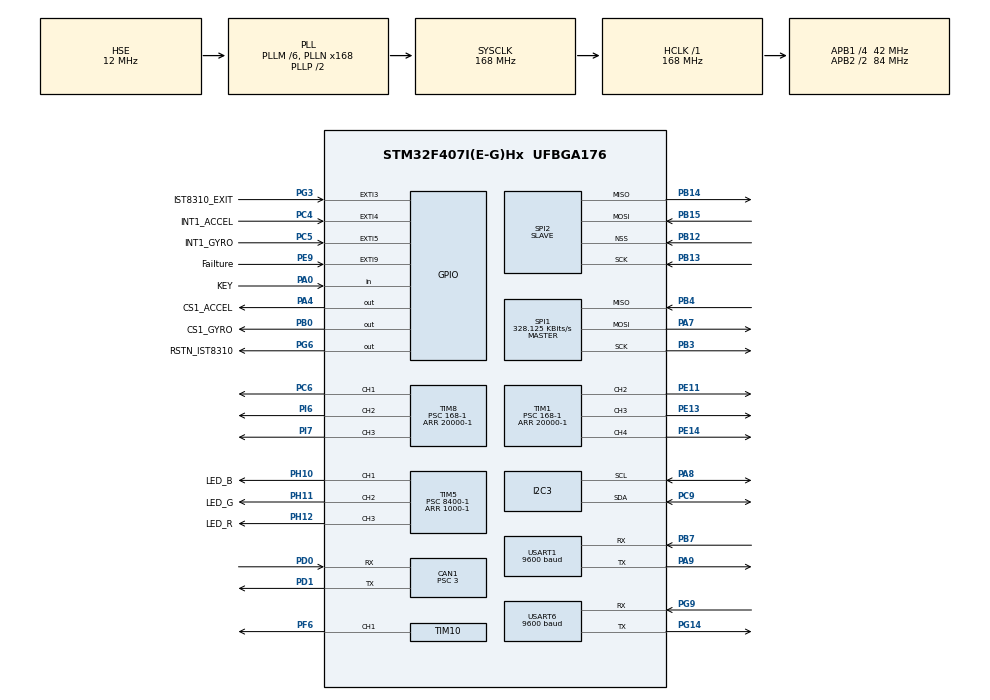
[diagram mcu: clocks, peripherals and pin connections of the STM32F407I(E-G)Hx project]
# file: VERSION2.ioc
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CAN1.BS1=CAN_BS1_10TQ
CAN1.BS2=CAN_BS2_3TQ
CAN1.CalculateBaudRate=1000000
CAN1.CalculateTimeBit=999.99
CAN1.CalculateTimeQuantum=71.42857142857143
CAN1.Prescaler=3
Dma.Request0=SPI1_RX
Dma.Request1=SPI1_TX
Dma.Request2=USART6_RX
Dma.Request3=USART6_TX
Dma.Request4=USART1_RX
Dma.Request5=USART1_TX
Dma.SPI1_RX.0.Direction=DMA_PERIPH_TO_MEMORY
Dma.SPI1_RX.0.FIFOMode=DMA_FIFOMODE_DISABLE
Dma.SPI1_RX.0.Instance=DMA2_Stream2
Dma.SPI1_RX.0.MemDataAlignment=DMA_MDATAALIGN_BYTE
Dma.SPI1_RX.0.MemInc=DMA_MINC_ENABLE
Dma.SPI1_RX.0.Mode=DMA_NORMAL
Dma.SPI1_RX.0.PeriphDataAlignment=DMA_PDATAALIGN_BYTE
Dma.SPI1_RX.0.PeriphInc=DMA_PINC_DISABLE
Dma.SPI1_RX.0.Priority=DMA_PRIORITY_VERY_HIGH
Dma.SPI1_TX.1.Direction=DMA_MEMORY_TO_PERIPH
Dma.SPI1_TX.1.FIFOMode=DMA_FIFOMODE_DISABLE
Dma.SPI1_TX.1.Instance=DMA2_Stream3
Dma.SPI1_TX.1.MemDataAlignment=DMA_MDATAALIGN_BYTE
Dma.SPI1_TX.1.MemInc=DMA_MINC_ENABLE
Dma.SPI1_TX.1.Mode=DMA_NORMAL
Dma.SPI1_TX.1.PeriphDataAlignment=DMA_PDATAALIGN_BYTE
Dma.SPI1_TX.1.PeriphInc=DMA_PINC_DISABLE
Dma.SPI1_TX.1.Priority=DMA_PRIORITY_HIGH
Dma.USART1_RX.4.Direction=DMA_PERIPH_TO_MEMORY
Dma.USART1_RX.4.FIFOMode=DMA_FIFOMODE_DISABLE
Dma.USART1_RX.4.Instance=DMA2_Stream5
Dma.USART1_RX.4.MemDataAlignment=DMA_MDATAALIGN_BYTE
Dma.USART1_RX.4.MemInc=DMA_MINC_ENABLE
Dma.USART1_RX.4.Mode=DMA_NORMAL
Dma.USART1_RX.4.PeriphDataAlignment=DMA_PDATAALIGN_BYTE
Dma.USART1_RX.4.PeriphInc=DMA_PINC_DISABLE
Dma.USART1_RX.4.Priority=DMA_PRIORITY_LOW
Dma.USART1_TX.5.Direction=DMA_MEMORY_TO_PERIPH
Dma.USART1_TX.5.FIFOMode=DMA_FIFOMODE_DISABLE
Dma.USART1_TX.5.Instance=DMA2_Stream7
Dma.USART1_TX.5.MemDataAlignment=DMA_MDATAALIGN_BYTE
Dma.USART1_TX.5.MemInc=DMA_MINC_ENABLE
Dma.USART1_TX.5.Mode=DMA_NORMAL
Dma.USART1_TX.5.PeriphDataAlignment=DMA_PDATAALIGN_BYTE
Dma.USART1_TX.5.PeriphInc=DMA_PINC_DISABLE
Dma.USART1_TX.5.Priority=DMA_PRIORITY_LOW
Dma.USART6_RX.2.Direction=DMA_PERIPH_TO_MEMORY
Dma.USART6_RX.2.FIFOMode=DMA_FIFOMODE_DISABLE
Dma.USART6_RX.2.Instance=DMA2_Stream1
Dma.USART6_RX.2.MemDataAlignment=DMA_MDATAALIGN_BYTE
Dma.USART6_RX.2.MemInc=DMA_MINC_ENABLE
Dma.USART6_RX.2.Mode=DMA_NORMAL
Dma.USART6_RX.2.PeriphDataAlignment=DMA_PDATAALIGN_BYTE
Dma.USART6_RX.2.PeriphInc=DMA_PINC_DISABLE
Dma.USART6_RX.2.Priority=DMA_PRIORITY_LOW
Dma.USART6_TX.3.Direction=DMA_MEMORY_TO_PERIPH
Dma.USART6_TX.3.FIFOMode=DMA_FIFOMODE_DISABLE
Dma.USART6_TX.3.Instance=DMA2_Stream6
Dma.USART6_TX.3.MemDataAlignment=DMA_MDATAALIGN_BYTE
Dma.USART6_TX.3.MemInc=DMA_MINC_ENABLE
Dma.USART6_TX.3.Mode=DMA_NORMAL
Dma.USART6_TX.3.PeriphDataAlignment=DMA_PDATAALIGN_BYTE
Dma.USART6_TX.3.PeriphInc=DMA_PINC_DISABLE
Dma.USART6_TX.3.Priority=DMA_PRIORITY_LOW
FREERTOS.INCLUDE_eTaskGetState=1
FREERTOS.INCLUDE_pcTaskGetTaskName=1
FREERTOS.INCLUDE_uxTaskGetStackHighWaterMark=1
FREERTOS.INCLUDE_uxTaskGetStackHighWaterMark2=1
FREERTOS.INCLUDE_vTaskCleanUpResources=1
FREERTOS.INCLUDE_vTaskDelayUntil=1
FREERTOS.INCLUDE_xEventGroupSetBitFromISR=1
FREERTOS.INCLUDE_xQueueGetMutexHolder=1
FREERTOS.INCLUDE_xSemaphoreGetMutexHolder=1
FREERTOS.INCLUDE_xTaskAbortDelay=1
FREERTOS.INCLUDE_xTaskGetCurrentTaskHandle=1
FREERTOS.INCLUDE_xTaskGetHandle=1
FREERTOS.INCLUDE_xTimerPendFunctionCall=1
FREERTOS.Tasks01=test,0,128,test_task,As weak,NULL,Dynamic,NULL,NULL;line_detect,0,128,line_detect_task,As weak,NULL,Dynamic,NULL,NULL
FREERTOS.configENABLE_FPU=1
FREERTOS.configTOTAL_HEAP_SIZE=24576
I2C3.I2C_Mode=I2C_Fast
Mcu.Family=STM32F4
Mcu.Name=STM32F407I(E-G)Hx
Mcu.Package=UFBGA176
NVIC.CAN1_RX0_IRQn=true\:5\:0\:true\:false\:true\:true\:true\:true
NVIC.DMA2_Stream1_IRQn=true\:5\:0\:false\:false\:true\:true\:false\:true
NVIC.DMA2_Stream2_IRQn=true\:5\:0\:true\:false\:false\:true\:false\:true
NVIC.DMA2_Stream3_IRQn=true\:5\:0\:true\:false\:false\:true\:false\:true
NVIC.DMA2_Stream5_IRQn=true\:5\:0\:false\:false\:true\:true\:false\:true
NVIC.DMA2_Stream6_IRQn=true\:5\:0\:false\:false\:true\:true\:false\:true
NVIC.DMA2_Stream7_IRQn=true\:5\:0\:false\:false\:true\:true\:false\:true
NVIC.EXTI3_IRQn=true\:5\:0\:false\:false\:true\:true\:true\:true
NVIC.EXTI4_IRQn=true\:5\:0\:false\:false\:true\:true\:true\:true
NVIC.EXTI9_5_IRQn=true\:5\:0\:false\:false\:true\:true\:true\:true
NVIC.PriorityGroup=NVIC_PRIORITYGROUP_4
NVIC.SPI2_IRQn=true\:5\:0\:false\:false\:true\:true\:true\:true
NVIC.TIM6_DAC_IRQn=true\:15\:0\:false\:false\:true\:false\:false\:true
NVIC.TimeBase=TIM6_DAC_IRQn
NVIC.TimeBaseIP=TIM6
NVIC.USART1_IRQn=true\:5\:0\:false\:false\:true\:true\:true\:true
NVIC.USART6_IRQn=true\:5\:0\:false\:false\:true\:true\:true\:true
PA0-WKUP.GPIO_Label=KEY
PA0-WKUP.GPIO_PuPd=GPIO_PULLUP
PA0-WKUP.Signal=GPIO_Input
PA13.Mode=Serial_Wire
PA13.Signal=SYS_JTMS-SWDIO
PA14.Mode=Serial_Wire
PA14.Signal=SYS_JTCK-SWCLK
PA4.GPIO_Label=CS1_ACCEL
PA4.GPIO_PuPd=GPIO_PULLUP
PA4.GPIO_Speed=GPIO_SPEED_FREQ_HIGH
PA4.PinState=GPIO_PIN_SET
PA4.Signal=GPIO_Output
PA7.GPIO_PuPd=GPIO_PULLUP
PA7.Mode=Full_Duplex_Master
PA7.Signal=SPI1_MOSI
PA8.GPIO_Pu=GPIO_PULLUP
PA8.Mode=I2C
PA8.Signal=I2C3_SCL
PA9.Mode=Asynchronous
PA9.Signal=USART1_TX
PB0.GPIO_Label=CS1_GYRO
PB0.GPIO_PuPd=GPIO_PULLUP
PB0.GPIO_Speed=GPIO_SPEED_FREQ_HIGH
PB0.PinState=GPIO_PIN_SET
PB0.Signal=GPIO_Output
PB12.Mode=NSS_Signal_Hard_Input
PB12.Signal=SPI2_NSS
PB13.GPIO_PuPd=GPIO_PULLUP
PB13.Mode=Full_Duplex_Slave
PB13.Signal=SPI2_SCK
PB14.GPIO_PuPd=GPIO_PULLUP
PB14.Mode=Full_Duplex_Slave
PB14.Signal=SPI2_MISO
PB15.GPIO_PuPd=GPIO_PULLUP
PB15.Mode=Full_Duplex_Slave
PB15.Signal=SPI2_MOSI
PB3.GPIO_PuPd=GPIO_PULLUP
PB3.Mode=Full_Duplex_Master
PB3.Signal=SPI1_SCK
PB4.GPIO_PuPd=GPIO_PULLUP
PB4.Mode=Full_Duplex_Master
PB4.Signal=SPI1_MISO
PB7.Mode=Asynchronous
PB7.Signal=USART1_RX
PC4.GPIO_Label=INT1_ACCEL
PC4.GPIO_ModeDefaultEXTI=GPIO_MODE_IT_FALLING
PC4.GPIO_PuPd=GPIO_PULLUP
PC4.Signal=GPXTI4
PC5.GPIO_Label=INT1_GYRO
PC5.GPIO_ModeDefaultEXTI=GPIO_MODE_IT_FALLING
PC5.GPIO_PuPd=GPIO_PULLUP
PC5.Signal=GPXTI5
PC6.Signal=S_TIM8_CH1
PC9.GPIO_Pu=GPIO_PULLUP
PC9.Mode=I2C
PC9.Signal=I2C3_SDA
PD0.Mode=CAN_Activate
PD0.Signal=CAN1_RX
PD1.Mode=CAN_Activate
PD1.Signal=CAN1_TX
PE11.Signal=S_TIM1_CH2
PE13.Signal=S_TIM1_CH3
PE14.Signal=S_TIM1_CH4
PE9.GPIO_Label=Failture
PE9.GPIO_ModeDefaultEXTI=GPIO_MODE_IT_FALLING
PE9.GPIO_PuPd=GPIO_PULLUP
PE9.Signal=GPXTI9
PF6.GPIO_PuPd=GPIO_PULLUP
PF6.GPIO_Speed=GPIO_SPEED_FREQ_HIGH
PF6.Signal=S_TIM10_CH1
PG14.Mode=Asynchronous
PG14.Signal=USART6_TX
PG3.GPIO_Label=IST8310_EXIT
PG3.GPIO_ModeDefaultEXTI=GPIO_MODE_IT_RISING
PG3.GPIO_PuPd=GPIO_PULLDOWN
PG3.Signal=GPXTI3
PG6.GPIO_Label=RSTN_IST8310
PG6.GPIO_PuPd=GPIO_PULLUP
PG6.GPIO_Speed=GPIO_SPEED_FREQ_MEDIUM
PG6.PinState=GPIO_PIN_SET
PG6.Signal=GPIO_Output
PG9.Mode=Asynchronous
PG9.Signal=USART6_RX
PH0-OSC_IN.Mode=HSE-External-Oscillator
PH0-OSC_IN.Signal=RCC_OSC_IN
PH1-OSC_OUT.Mode=HSE-External-Oscillator
PH1-OSC_OUT.Signal=RCC_OSC_OUT
PH10.GPIO_Label=LED_B
PH10.Signal=S_TIM5_CH1
PH11.GPIO_Label=LED_G
PH11.GPIO_PuPd=GPIO_PULLUP
PH11.GPIO_Speed=GPIO_SPEED_FREQ_HIGH
PH11.Signal=S_TIM5_CH2
PH12.GPIO_Label=LED_R
PH12.GPIO_PuPd=GPIO_PULLUP
PH12.GPIO_Speed=GPIO_SPEED_FREQ_HIGH
PH12.Signal=S_TIM5_CH3
PI6.GPIO_PuPd=GPIO_PULLDOWN
PI6.Signal=S_TIM8_CH2
PI7.GPIO_PuPd=GPIO_PULLDOWN
PI7.Signal=S_TIM8_CH3
ProjectManager.HeapSize=0x2000
ProjectManager.StackSize=0x2000
ProjectManager.TargetToolchain=MDK-ARM V5
RCC.48MHZClocksFreq_Value=48000000
RCC.AHBFreq_Value=168000000
RCC.APB1CLKDivider=RCC_HCLK_DIV4
RCC.APB1Freq_Value=42000000
RCC.APB1TimFreq_Value=84000000
RCC.APB2CLKDivider=RCC_HCLK_DIV2
RCC.APB2Freq_Value=84000000
RCC.APB2TimFreq_Value=168000000
RCC.CortexFreq_Value=168000000
RCC.HCLKFreq_Value=168000000
RCC.HSE_VALUE=12000000
RCC.HSI_VALUE=16000000
RCC.LSE_VALUE=32768
RCC.PLLM=6
RCC.PLLN=168
RCC.PLLQ=7
RCC.PLLSourceVirtual=RCC_PLLSOURCE_HSE
RCC.RCC_RTC_Clock_SourceVirtual=RCC_RTCCLKSOURCE_HSE_DIV30
RCC.RCC_RTC_Clock_Source_FROM_HSE=RCC_RTCCLKSOURCE_HSE_DIV30
RCC.SYSCLKFreq_VALUE=168000000
RCC.SYSCLKSource=RCC_SYSCLKSOURCE_PLLCLK
RCC.VCOOutputFreq_Value=336000000
SH.S_TIM10_CH1.0=TIM10_CH1,PWM Generation1 CH1
SH.S_TIM1_CH2.0=TIM1_CH2,PWM Generation2 CH2
SH.S_TIM1_CH3.0=TIM1_CH3,PWM Generation3 CH3
SH.S_TIM1_CH4.0=TIM1_CH4,PWM Generation4 CH4
SH.S_TIM5_CH1.0=TIM5_CH1,PWM Generation1 CH1
SH.S_TIM5_CH2.0=TIM5_CH2,PWM Generation2 CH2
SH.S_TIM5_CH3.0=TIM5_CH3,PWM Generation3 CH3
SH.S_TIM8_CH1.0=TIM8_CH1,PWM Generation1 CH1
SH.S_TIM8_CH2.0=TIM8_CH2,PWM Generation2 CH2
SH.S_TIM8_CH3.0=TIM8_CH3,PWM Generation3 CH3
SPI1.BaudRatePrescaler=SPI_BAUDRATEPRESCALER_256
SPI1.CLKPhase=SPI_PHASE_2EDGE
SPI1.CLKPolarity=SPI_POLARITY_HIGH
SPI1.CalculateBaudRate=328.125 KBits/s
SPI1.Direction=SPI_DIRECTION_2LINES
SPI1.Mode=SPI_MODE_MASTER
SPI1.VirtualType=VM_MASTER
SPI2.Direction=SPI_DIRECTION_2LINES
SPI2.Mode=SPI_MODE_SLAVE
SPI2.VirtualNSS=VM_NSSHARD
SPI2.VirtualType=VM_SLAVE
TIM1.AutoReloadPreload=TIM_AUTORELOAD_PRELOAD_ENABLE
TIM1.Channel-PWM\ Generation2\ CH2=TIM_CHANNEL_2
TIM1.Channel-PWM\ Generation3\ CH3=TIM_CHANNEL_3
TIM1.Channel-PWM\ Generation4\ CH4=TIM_CHANNEL_4
TIM1.OCFastMode_PWM-PWM\ Generation3\ CH3=TIM_OCFAST_ENABLE
TIM1.OCMode_PWM-PWM\ Generation3\ CH3=TIM_OCMODE_PWM1
TIM1.Period=20000-1
TIM1.Prescaler=168-1
TIM1.Pulse-PWM\ Generation2\ CH2=1300
TIM1.Pulse-PWM\ Generation3\ CH3=1500
TIM1.Pulse-PWM\ Generation4\ CH4=2500
TIM10.Channel=TIM_CHANNEL_1
TIM10.Period=4999
TIM5.Channel-PWM\ Generation1\ CH1=TIM_CHANNEL_1
TIM5.Channel-PWM\ Generation2\ CH2=TIM_CHANNEL_2
TIM5.Channel-PWM\ Generation3\ CH3=TIM_CHANNEL_3
TIM5.Period=1000-1
TIM5.Prescaler=8400-1
TIM8.AutoReloadPreload=TIM_AUTORELOAD_PRELOAD_ENABLE
TIM8.Channel-PWM\ Generation1\ CH1=TIM_CHANNEL_1
TIM8.Channel-PWM\ Generation2\ CH2=TIM_CHANNEL_2
TIM8.Channel-PWM\ Generation3\ CH3=TIM_CHANNEL_3
TIM8.Period=20000-1
TIM8.Prescaler=168-1
TIM8.Pulse-PWM\ Generation2\ CH2=500
TIM8.Pulse-PWM\ Generation3\ CH3=2570
USART1.BaudRate=9600
USART1.VirtualMode=VM_ASYNC
USART6.BaudRate=9600
USART6.VirtualMode=VM_ASYNC
VP_CRC_VS_CRC.Mode=CRC_Activate
VP_FREERTOS_VS_CMSIS_V1.Mode=CMSIS_V1
VP_RNG_VS_RNG.Mode=RNG_Activate
VP_SYS_VS_tim6.Mode=TIM6
VP_TIM10_VS_ClockSourceINT.Mode=Enable_Timer
VP_TIM1_VS_ClockSourceINT.Mode=Internal
VP_TIM5_VS_ClockSourceINT.Mode=Internal
VP_TIM8_VS_ClockSourceINT.Mode=Internal
board=custom

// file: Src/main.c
/* USER CODE BEGIN Header */
/**
  ******************************************************************************
  * @file           : main.c
  * @brief          : Main program body
  ******************************************************************************
  * @attention
  *
  * <h2><center>&copy; Copyright (c) 2021 STMicroelectronics.
  * All rights reserved.</center></h2>
  *
  * This software component is licensed by ST under Ultimate Liberty license
  * SLA0044, the "License"; You may not use this file except in compliance with
  * the License. You may obtain a copy of the License at:
  *                             www.st.com/SLA0044
  *
  ******************************************************************************
  */
/* USER CODE END Header */
#include "main.h"
#include "cmsis_os.h"
#include "can.h"
#include "crc.h"
#include "dma.h"
#include "i2c.h"
#include "rng.h"
#include "spi.h"
#include "tim.h"
#include "usart.h"
#include "gpio.h"

/* USER CODE BEGIN Includes */
#include "bsp_delay.h"
#include "bsp_can.h"
#include "frame.h"
#include "door_servo.h"

/* USER CODE END Includes */

/* USER CODE BEGIN PTD */
//#define	UART_BUFFSIZE	50
//typedef struct{
//	uint8_t sendlen;
//	uint8_t recvlen;
//	uint8_t sendbuff[UART_BUFFSIZE];
//	uint8_t recv1buff[UART_BUFFSIZE];
//	uint8_t recv2buff[UART_BUFFSIZE];
//}uart1_buff,uart6_buff;

/* USER CODE END PTD */

/* USER CODE BEGIN PD */
//#define Calibrate_Mode
/* USER CODE END PD */

/* USER CODE BEGIN PV */
uint8_t rx_echo_buff[2];
uint8_t rx_line_buff[5];
uint8_t failure_warning=0;

uint8_t spi_tx_buff[3]={0xAA,0x11,0xAA};
uint8_t spi_rx_buff[4];

/* USER CODE END PV */

void SystemClock_Config(void);
void MX_FREERTOS_Init(void);

int main(void)
{

  /* MCU Configuration--------------------------------------------------------*/

  /* Reset of all peripherals, Initializes the Flash interface and the Systick. */
  HAL_Init();

  /* Configure the system clock */
  SystemClock_Config();

  /* Initialize all configured peripherals */
  MX_GPIO_Init();
  MX_DMA_Init();
  MX_CAN1_Init();
  MX_SPI1_Init();
  MX_TIM5_Init();
  MX_CRC_Init();
  MX_RNG_Init();
  MX_TIM10_Init();
  MX_USART1_UART_Init();
  MX_TIM8_Init();
  MX_I2C3_Init();
  MX_SPI2_Init();
  MX_USART6_UART_Init();
  MX_TIM1_Init();
  /* USER CODE BEGIN 2 */

	can_filter_init();//用于配置CAN接收器
	delay_init(); //配置延时函数
  /* USER CODE END 2 */

  /* Call init function for freertos objects (in freertos.c) */
  MX_FREERTOS_Init();
  /* Start scheduler */
  osKernelStart();

  /* We should never get here as control is now taken by the scheduler */
  /* Infinite loop */
  while (1)
  {

  }
}

void SystemClock_Config(void)
{
  RCC_OscInitTypeDef RCC_OscInitStruct = {0};
  RCC_ClkInitTypeDef RCC_ClkInitStruct = {0};

  /** Configure the main internal regulator output voltage
  */
  __HAL_RCC_PWR_CLK_ENABLE();
  __HAL_PWR_VOLTAGESCALING_CONFIG(PWR_REGULATOR_VOLTAGE_SCALE1);
  /** Initializes the RCC Oscillators according to the specified parameters
  * in the RCC_OscInitTypeDef structure.
  */
  RCC_OscInitStruct.OscillatorType = RCC_OSCILLATORTYPE_HSE;
  RCC_OscInitStruct.HSEState = RCC_HSE_ON;
  RCC_OscInitStruct.PLL.PLLState = RCC_PLL_ON;
  RCC_OscInitStruct.PLL.PLLSource = RCC_PLLSOURCE_HSE;
  RCC_OscInitStruct.PLL.PLLM = 6;
  RCC_OscInitStruct.PLL.PLLN = 168;
  RCC_OscInitStruct.PLL.PLLP = RCC_PLLP_DIV2;
  RCC_OscInitStruct.PLL.PLLQ = 7;
  if (HAL_RCC_OscConfig(&RCC_OscInitStruct) != HAL_OK)
  {
    Error_Handler();
  }
  /** Initializes the CPU, AHB and APB buses clocks
  */
  RCC_ClkInitStruct.ClockType = RCC_CLOCKTYPE_HCLK|RCC_CLOCKTYPE_SYSCLK
                              |RCC_CLOCKTYPE_PCLK1|RCC_CLOCKTYPE_PCLK2;
  RCC_ClkInitStruct.SYSCLKSource = RCC_SYSCLKSOURCE_PLLCLK;
  RCC_ClkInitStruct.AHBCLKDivider = RCC_SYSCLK_DIV1;
  RCC_ClkInitStruct.APB1CLKDivider = RCC_HCLK_DIV4;
  RCC_ClkInitStruct.APB2CLKDivider = RCC_HCLK_DIV2;

  if (HAL_RCC_ClockConfig(&RCC_ClkInitStruct, FLASH_LATENCY_5) != HAL_OK)
  {
    Error_Handler();
  }
}

void HAL_TIM_PeriodElapsedCallback(TIM_HandleTypeDef *htim)
{
  if (htim->Instance == TIM6) {
    HAL_IncTick();
  }
}

void Error_Handler(void)
{
  __disable_irq();
  while (1)
  {
  }
}

/************************ (C) COPYRIGHT STMicroelectronics *****END OF FILE****/

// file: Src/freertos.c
/* USER CODE BEGIN Header */
/**
  ******************************************************************************
  * File Name          : freertos.c
  * Description        : Code for freertos applications
  ******************************************************************************
  * @attention
  *
  * <h2><center>&copy; Copyright (c) 2021 STMicroelectronics.
  * All rights reserved.</center></h2>
  *
  * This software component is licensed by ST under Ultimate Liberty license
  * SLA0044, the "License"; You may not use this file except in compliance with
  * the License. You may obtain a copy of the License at:
  *                             www.st.com/SLA0044
  *
  ******************************************************************************
  */
/* USER CODE END Header */

#include "FreeRTOS.h"
#include "task.h"
#include "main.h"
#include "cmsis_os.h"

/* USER CODE BEGIN Includes */
#include "tim.h"
#include "bmi088_driver.h"
#include "bsp_spi.h"
#include "pid.h"
#include "bsp_delay.h"
#include "user_task.h"
/* USER CODE END Includes */

osThreadId testHandle;
osThreadId line_detectHandle;

void test_task(void const * argument);
void line_detect_task(void const * argument);

void MX_FREERTOS_Init(void); /* (MISRA C 2004 rule 8.1) */

/* GetIdleTaskMemory prototype (linked to static allocation support) */
void vApplicationGetIdleTaskMemory( StaticTask_t **ppxIdleTaskTCBBuffer, StackType_t **ppxIdleTaskStackBuffer, uint32_t *pulIdleTaskStackSize );

/* GetTimerTaskMemory prototype (linked to static allocation support) */
void vApplicationGetTimerTaskMemory( StaticTask_t **ppxTimerTaskTCBBuffer, StackType_t **ppxTimerTaskStackBuffer, uint32_t *pulTimerTaskStackSize );

/* USER CODE BEGIN GET_IDLE_TASK_MEMORY */
static StaticTask_t xIdleTaskTCBBuffer;
static StackType_t xIdleStack[configMINIMAL_STACK_SIZE];

void vApplicationGetIdleTaskMemory( StaticTask_t **ppxIdleTaskTCBBuffer, StackType_t **ppxIdleTaskStackBuffer, uint32_t *pulIdleTaskStackSize )
{
  *ppxIdleTaskTCBBuffer = &xIdleTaskTCBBuffer;
  *ppxIdleTaskStackBuffer = &xIdleStack[0];
  *pulIdleTaskStackSize = configMINIMAL_STACK_SIZE;
  /* place for user code */
}
/* USER CODE END GET_IDLE_TASK_MEMORY */

/* USER CODE BEGIN GET_TIMER_TASK_MEMORY */
static StaticTask_t xTimerTaskTCBBuffer;
static StackType_t xTimerStack[configTIMER_TASK_STACK_DEPTH];

void vApplicationGetTimerTaskMemory( StaticTask_t **ppxTimerTaskTCBBuffer, StackType_t **ppxTimerTaskStackBuffer, uint32_t *pulTimerTaskStackSize )
{
  *ppxTimerTaskTCBBuffer = &xTimerTaskTCBBuffer;
  *ppxTimerTaskStackBuffer = &xTimerStack[0];
  *pulTimerTaskStackSize = configTIMER_TASK_STACK_DEPTH;
  /* place for user code */
}
/* USER CODE END GET_TIMER_TASK_MEMORY */

void MX_FREERTOS_Init(void) {

  /* Create the thread(s) */
  /* definition and creation of test */
  osThreadDef(test, test_task, osPriorityNormal, 0, 128);
  testHandle = osThreadCreate(osThread(test), NULL);

  /* definition and creation of line_detect */
  osThreadDef(line_detect, line_detect_task, osPriorityNormal, 0, 128);
  line_detectHandle = osThreadCreate(osThread(line_detect), NULL);

}

__weak void test_task(void const * argument)
{
  /* USER CODE BEGIN test_task */
  /* Infinite loop */
  for(;;)
  {
    osDelay(100);
  }
  /* USER CODE END test_task */
}

__weak void line_detect_task(void const * argument)
{
  /* USER CODE BEGIN line_detect_task */
  /* Infinite loop */
  for(;;)
  {
    osDelay(100);
  }
  /* USER CODE END line_detect_task */
}

/************************ (C) COPYRIGHT STMicroelectronics *****END OF FILE****/
